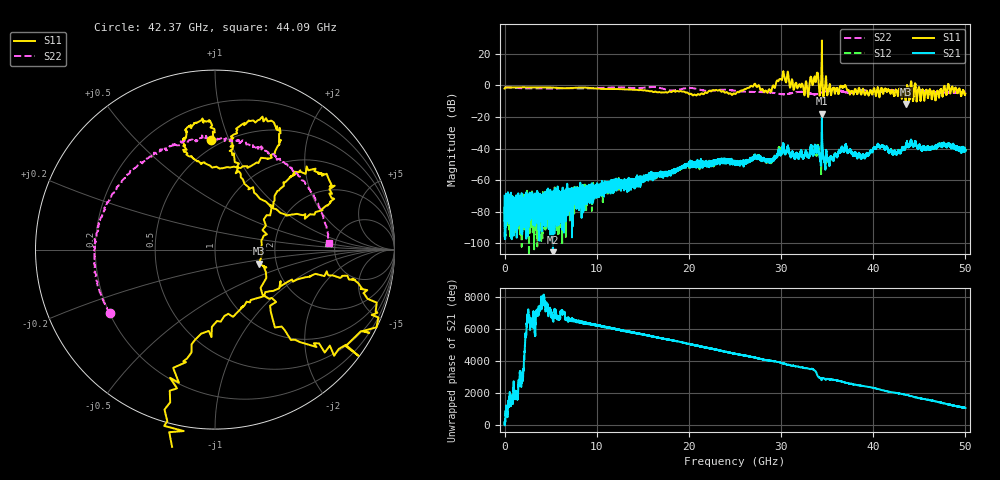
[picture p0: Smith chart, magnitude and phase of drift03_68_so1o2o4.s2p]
!Created with skrf (http://scikit-rf.org).
# Hz S RI R 50.0
!freq ReS11 ImS11 ReS21 ImS21 ReS12 ImS12 ReS22 ImS22
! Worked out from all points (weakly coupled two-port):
!   10000 points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, 5.3 MHz to 50 GHz, reference 50 ohm
!   highest |S21| = -18.01 dB at 34.43 GHz (marker M1); lowest = -105.7 dB at 5.245 GHz (marker M2)
!   lowest |S11| = -11.8 dB at 43.53 GHz (marker M3), VSWR 1.69, Z = 80.9 - j13.5 ohm
!   |S11| at or under -10 dB: 43.48766 GHz to 43.54697 GHz (59.31 MHz wide, 0.136 % of centre); 44.70572 GHz to 44.7131 GHz (7.384 MHz wide, 0.0165 % of centre)
!   |S22| runs from -5.8 to -1.1 dB; largest |S21 - S12| = 0.027
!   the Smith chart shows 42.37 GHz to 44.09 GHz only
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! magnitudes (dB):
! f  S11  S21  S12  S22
! 5.3 MHz  -2.1  -69.8  -96.1  -1.3
! 1.23 GHz  -1.4  -80.1  -74.6  -1.7
! 5.245 GHz  -1.5  -105.7  -87.2  -2.1
! 8.34 GHz  -1.5  -68.3  -70.4  -2.1
! 16.67 GHz  -4.4  -56.3  -55.9  -1.5
! 20.25 GHz  -5.4  -49.7  -50.3  -1.7
! 25.01 GHz  -5.5  -48.1  -48.9  -3.5
! 27.02 GHz  -0.4  -46.1  -46.0  -4.3
! 28.72 GHz  -2.5  -48.1  -47.8  -4.5
! 30.14 GHz  4.4  -40.1  -40.5  -5.7
! 32.74 GHz  2.0  -41.9  -42.0  -4.5
! 33.34 GHz  2.6  -40.1  -40.5  -5.7
! 33.82 GHz  4.0  -42.1  -42.1  -5.6
! 34.43 GHz  28.3  -18.0  -19.0  -4.6
! 35.31 GHz  0.5  -46.5  -45.7  -3.3
! 36.84 GHz  -0.8  -42.2  -42.0  -4.3
! 38.89 GHz  -2.2  -43.8  -43.2  -3.2
! 40.6 GHz  -4.4  -38.3  -38.2  -4.0
! 41.67 GHz  -2.9  -42.1  -42.0  -3.3
! 43.53 GHz  -11.8  -39.1  -38.5  -4.1
! 48.32 GHz  -4.5  -38.3  -38.6  -4.6
! 50 GHz  -5.2  -41.4  -41.4  -4.5
